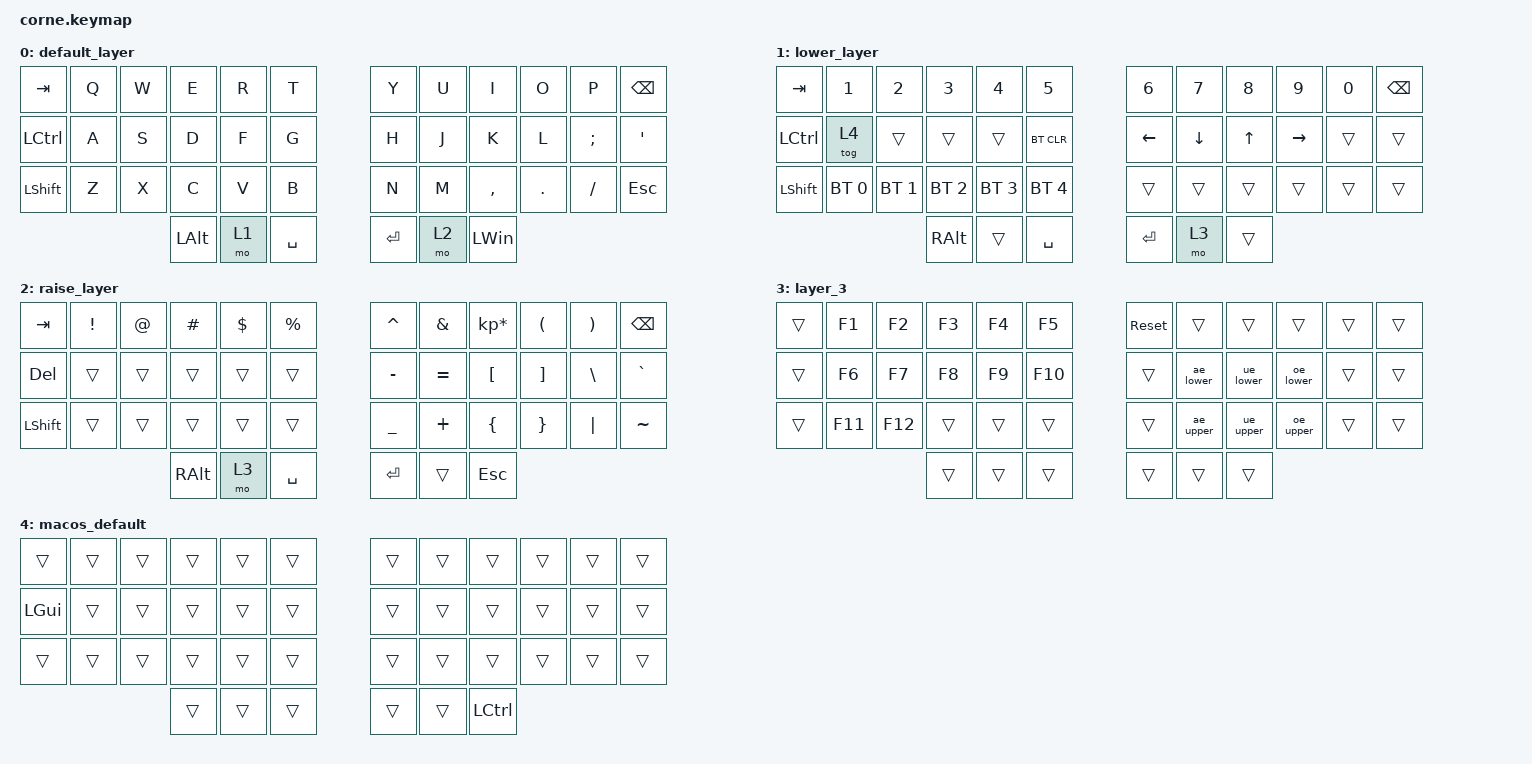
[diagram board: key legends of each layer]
/*
 * Copyright (c) 2020 The ZMK Contributors
 *
 * SPDX-License-Identifier: MIT
 */

#include <behaviors.dtsi>
#include <dt-bindings/zmk/bt.h>
#include <dt-bindings/zmk/keys.h>

/ {
    macros {
        ae_lower: ae_lower {
            compatible = "zmk,behavior-macro";
            label = "AE_LOWER";
            #binding-cells = <0>;
            bindings = <&kp KP_N1 &kp KP_NUMBER_3 &kp KP_NUMBER_2>;
        };

        ue_lower: ue_lower {
            compatible = "zmk,behavior-macro";
            label = "UE_LOWER";
            #binding-cells = <0>;
            bindings = <&kp KP_NUMBER_1 &kp KP_NUMBER_2 &kp KP_NUMBER_9>;
        };

        oe_lower: oe_lower {
            compatible = "zmk,behavior-macro";
            label = "OE_LOWER";
            #binding-cells = <0>;
            bindings = <&kp KP_NUMBER_1 &kp KP_NUMBER_4 &kp KP_NUMBER_8>;
        };

        ae_upper: ae_upper {
            compatible = "zmk,behavior-macro";
            label = "AE_UPPER";
            #binding-cells = <0>;
            bindings = <&kp KP_NUMBER_1 &kp KP_NUMBER_4 &kp KP_NUMBER_2>;
        };

        ue_upper: ue_upper {
            compatible = "zmk,behavior-macro";
            label = "UE_UPPER";
            #binding-cells = <0>;
            bindings = <&kp KP_NUMBER_1 &kp KP_NUMBER_5 &kp KP_NUMBER_4>;
        };

        oe_upper: oe_upper {
            compatible = "zmk,behavior-macro";
            label = "OE_UPPER";
            #binding-cells = <0>;
            bindings = <&kp KP_NUMBER_1 &kp KP_NUMBER_5 &kp KP_NUMBER_3>;
        };
    };

    keymap {
        compatible = "zmk,keymap";

        default_layer {
            // -----------------------------------------------------------------------------------------
            // |  TAB |  Q  |  W  |  E  |  R  |  T  |   |  Y  |  U   |  I  |  O  |  P  | BKSP |
            // | CTRL |  A  |  S  |  D  |  F  |  G  |   |  H  |  J   |  K  |  L  |  ;  |  '   |
            // | SHFT |  Z  |  X  |  C  |  V  |  B  |   |  N  |  M   |  ,  |  .  |  /  | ESC  |
            //                    | GUI | LWR | SPC |   | ENT | RSE  | ALT |

            bindings = <
&kp TAB    &kp Q  &kp W  &kp E     &kp R  &kp T        &kp Y    &kp U  &kp I      &kp O    &kp P     &kp BSPC
&kp LCTRL  &kp A  &kp S  &kp D     &kp F  &kp G        &kp H    &kp J  &kp K      &kp L    &kp SEMI  &kp SQT
&kp LSHFT  &kp Z  &kp X  &kp C     &kp V  &kp B        &kp N    &kp M  &kp COMMA  &kp DOT  &kp FSLH  &kp ESC
                         &kp LALT  &mo 1  &kp SPACE    &kp RET  &mo 2  &kp LWIN
            >;
        };

        lower_layer {
            // -----------------------------------------------------------------------------------------
            // |  TAB |  1  |  2  |  3  |  4  |  5  |   |  6  |  7  |  8  |  9  |  0  | BKSP |
            // | BTCLR| BT1 | BT2 | BT3 | BT4 | BT5 |   | LFT | DWN |  UP | RGT |     |      |
            // | SHFT |     |     |     |     |     |   |     |     |     |     |     |      |
            //                    | GUI |     | SPC |   | ENT |     | ALT |

            bindings = <
&kp TAB    &kp N1        &kp N2        &kp N3        &kp N4        &kp N5          &kp N6          &kp N7          &kp N8        &kp N9           &kp N0  &kp BSPC
&kp LCTRL  &tog 4        &trans        &trans        &trans        &bt BT_CLR      &kp LEFT_ARROW  &kp DOWN_ARROW  &kp UP_ARROW  &kp RIGHT_ARROW  &trans  &trans
&kp LSHFT  &bt BT_SEL 0  &bt BT_SEL 1  &bt BT_SEL 2  &bt BT_SEL 3  &bt BT_SEL 4    &trans          &trans          &trans        &trans           &trans  &trans
                                       &kp RALT      &trans        &kp SPACE       &kp RET         &mo 3           &trans
            >;
        };

        raise_layer {
            // -----------------------------------------------------------------------------------------
            // |  TAB |  !  |  @  |  #  |  $  |  %  |   |  ^  |  &  |  *  |  (  |  )  | BKSP |
            // | CTRL |     |     |     |     |     |   |  -  |  =  |  [  |  ]  |  \  |  `   |
            // | SHFT |     |     |     |     |     |   |  _  |  +  |  {  |  }  | "|" |  ~   |
            //                    | GUI |     | SPC |   | ENT |     | ALT |

            bindings = <
&kp TAB     &kp EXCL  &kp AT  &kp HASH  &kp DLLR  &kp PRCNT    &kp CARET  &kp AMPS   &kp KP_MULTIPLY  &kp LPAR  &kp RPAR  &kp BSPC
&kp DELETE  &trans    &trans  &trans    &trans    &trans       &kp MINUS  &kp EQUAL  &kp LBKT         &kp RBKT  &kp BSLH  &kp GRAVE
&kp LSHFT   &trans    &trans  &trans    &trans    &trans       &kp UNDER  &kp PLUS   &kp LBRC         &kp RBRC  &kp PIPE  &kp TILDE
                              &kp RALT  &mo 3     &kp SPACE    &kp RET    &trans     &kp ESC
            >;
        };

        layer_3 {
            bindings = <
&trans  &kp F1   &kp F2   &kp F3  &kp F4  &kp F5     &sys_reset  &trans     &trans     &trans     &trans  &trans
&trans  &kp F6   &kp F7   &kp F8  &kp F9  &kp F10    &trans      &ae_lower  &ue_lower  &oe_lower  &trans  &trans
&trans  &kp F11  &kp F12  &trans  &trans  &trans     &trans      &ae_upper  &ue_upper  &oe_upper  &trans  &trans
                          &trans  &trans  &trans     &trans      &trans     &trans
            >;
        };

        macos_default {
            bindings = <
&trans        &trans  &trans  &trans  &trans  &trans    &trans  &trans  &trans            &trans  &trans  &trans
&kp LEFT_GUI  &trans  &trans  &trans  &trans  &trans    &trans  &trans  &trans            &trans  &trans  &trans
&trans        &trans  &trans  &trans  &trans  &trans    &trans  &trans  &trans            &trans  &trans  &trans
                              &trans  &trans  &trans    &trans  &trans  &kp LEFT_CONTROL
            >;
        };
    };
};
